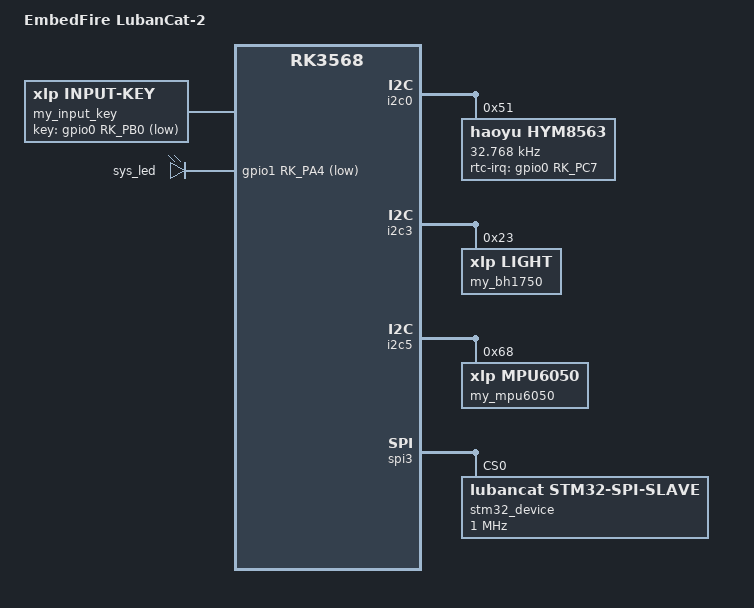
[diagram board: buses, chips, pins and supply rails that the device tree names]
// SPDX-License-Identifier: (GPL-2.0+ OR MIT)
/*
 * Copyright (c) 2020 Rockchip Electronics Co., Ltd.
 *
 */

#include "rk3568-lubancat-2-v2.dts"

// MIPI-DSI屏幕
// MIPI-DSI0
// #include "rk3568-lubancat-2-v2-dsi0-in-vp1-600p.dtsi"  //野火7寸屏幕
// #include "rk3568-lubancat-2-v2-dsi0-in-vp1-800p.dtsi"  //野火10寸屏幕
// #include "rk3568-lubancat-2-v2-dsi0-in-vp1-1080p.dtsi"  //野火5寸屏幕

// MIPI-DSI1
// #include "rk3568-lubancat-2-v2-dsi0-in-vp1-600p.dtsi" //野火7寸屏幕
// #include "rk3568-lubancat-2-v2-dsi0-in-vp1-800p.dtsi"  //野火10寸屏幕
// #include "rk3568-lubancat-2-v2-dsi0-in-vp1-1080p.dtsi"  // 野火5寸屏幕
/* 注意：
V2版仅支持双屏，启用MIPI-DSI1时，HDMI会默认禁掉。
如果需要MIPI-DSI+HDMI显示，
请禁掉MIPI-DSI1相关引用dtsi，只开MIPI-DSI0。
*/

/ {
	model = "EmbedFire LubanCat-2";
	compatible = "embedfire,lubancat-2-v3", "rockchip,rk3568";		
	
	my_input_key:my-input-key{
		compatible = "xlp,input-key";
		key-gpios = <&gpio0 RK_PB0 GPIO_ACTIVE_LOW>;
		pinctrl-names = "default";
		pinctrl-0 = <&my_input_key_pins>;
	};

};//根节点的右括号

&pinctrl{
	my_input_key{
		my_input_key_pins:my-input-key-pins{
			rockchip,pins = <0 RK_PB0 RK_FUNC_GPIO &pcfg_pull_up>;
		};
	};
};


&i2c0 {
	hym8563: hym8563@51 {
		compatible = "haoyu,hym8563";
		status = "okay";
		reg = <0x51>;
		#clock-cells = <0>;
		clock-frequency = <32768>;
		clock-output-names = "hym8563";
		rtc-irq-gpio = <&gpio0 RK_PC7 IRQ_TYPE_EDGE_FALLING>;
    };
};

&rk809 {
	rk809_rtc: rtc {
		status = "disabled";
	};	
};

&gmac0 {
    tx_delay = <0x08>;
    rx_delay = <0x07>;
};

&gmac1 {
    tx_delay = <0x06>;
    rx_delay = <0x07>;
};

&sys_led {
	gpios = <&gpio1 RK_PA4 GPIO_ACTIVE_LOW>;
	pinctrl-names = "default";
	pinctrl-0 = <&sys_led_pin>;	
};

&sys_led_pin {
	rockchip,pins = <1 RK_PA4 RK_FUNC_GPIO &pcfg_pull_none>;	
};

&i2c3 { 
	status = "okay"; //确保i2c3控制器开启
	
	my_bh1750:bh1750@23{
		compatible = "xlp,light";
		reg = <0x23>;
		status = "okay";
	};
};

&i2c5 {
	status = "okay";

	my_mpu6050:mpu6050@68{
		compatible = "xlp,mpu6050";
		reg = <0x68>;
		status = "okay";
	};
};

&spi3 {
	status = "okay";
	pinctrl-names = "default";
	pinctrl-0 = <&spi3m1_cs0 &spi3m1_pins>;

	stm32_device: stm32-slave@0 {
		compatible = "lubancat,stm32-spi-slave";
		reg = <0>;
		spi-max-frequency = <1000000>;
	};
};
